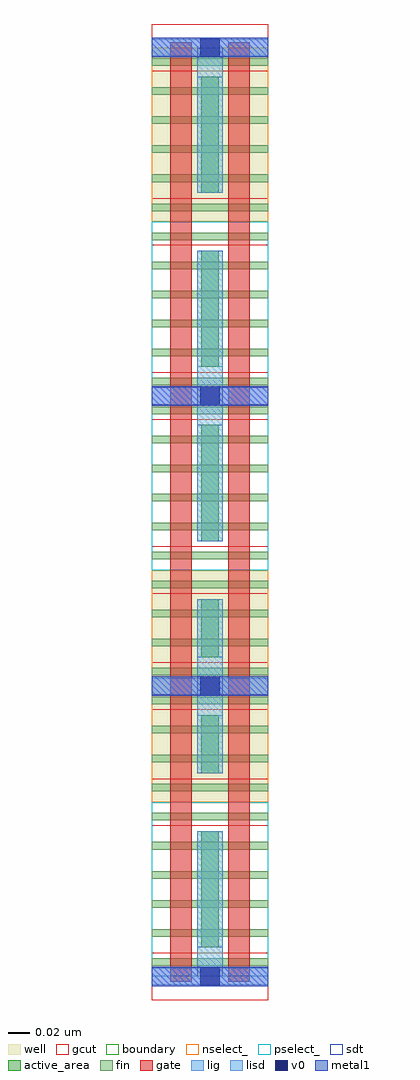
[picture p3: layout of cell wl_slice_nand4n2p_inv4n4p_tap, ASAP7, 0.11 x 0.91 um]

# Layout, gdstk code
import gdstk
lib = gdstk.Library(unit=1e-6, precision=1e-10)
def R(c, l, rs):  # rectangles x0, y0, x1, y1
    for r in rs: c.add(gdstk.rectangle(r[:2], r[2:], *l))
def A(c, l, x, y, w, h, nx, ny, dx, dy):  # array of equal rectangles
    R(c, l, [(x+i*dx, y+j*dy, x+i*dx+w, y+j*dy+h) for i in range(nx) for j in range(ny)])
well = (1, 0)
fin = (2, 0)
gate = (7, 0)
gcut = (10, 0)
active_area = (11, 0)
nselect_ = (12, 0)
pselect_ = (13, 0)
lig = (16, 0)
lisd = (17, 0)
v0 = (18, 0)
metal1 = (19, 0)
sdt = (88, 0)
boundary = (100, 0)

wl_slice_nand4n2p_inv4n4 = lib.new_cell('wl_slice_nand4n2p_inv4n4p_tap__nand')
R(wl_slice_nand4n2p_inv4n4, well, [(0,0.162,0.108,0.27)])
A(wl_slice_nand4n2p_inv4n4, fin, 0, 0.01, 0.108, 0.007, 1, 10, 0, 0.027)
R(wl_slice_nand4n2p_inv4n4, gate, [(0.017,-0.005,0.037,0.275), (0.071,-0.005,0.091,0.275)])
R(wl_slice_nand4n2p_inv4n4, gcut, [(0,-0.022,0.108,0.022), (0,0.14,0.108,0.184), (0,0.248,0.108,0.292)])
R(wl_slice_nand4n2p_inv4n4, active_area, [(0.046,0.027,0.062,0.135), (0.046,0.189,0.062,0.243)])
R(wl_slice_nand4n2p_inv4n4, nselect_, [(0,0.162,0.108,0.27)])
R(wl_slice_nand4n2p_inv4n4, pselect_, [(0,0,0.108,0.162)])
R(wl_slice_nand4n2p_inv4n4, lig, [(0,-0.008,0.108,0.008), (0,0.262,0.108,0.278)])
R(wl_slice_nand4n2p_inv4n4, lisd, [(0.042,0,0.066,0.135), (0.042,0.189,0.066,0.27)])
R(wl_slice_nand4n2p_inv4n4, v0, [(0.045,-0.009,0.063,0.009), (0.045,0.261,0.063,0.279)])
R(wl_slice_nand4n2p_inv4n4, metal1, [(0,-0.009,0.108,0.009), (0,0.261,0.108,0.279)])
R(wl_slice_nand4n2p_inv4n4, sdt, [(0.042,0.027,0.066,0.135), (0.042,0.189,0.066,0.243)])
R(wl_slice_nand4n2p_inv4n4, boundary, [(0,0,0.108,0.27)])
wl_slice_nand4n2p_inv4n4.add(gdstk.Label('VSS', (0.054,0), layer=19, texttype=251))
wl_slice_nand4n2p_inv4n4.add(gdstk.Label('VDD', (0.054,0.27), layer=19, texttype=251))

c_wl_slice_nand4n2p_inv4n4 = lib.new_cell('wl_slice_nand4n2p_inv4n4p_tap__drv')
R(c_wl_slice_nand4n2p_inv4n4, well, [(0,0.162,0.108,0.324)])
A(c_wl_slice_nand4n2p_inv4n4, fin, 0, 0.01, 0.108, 0.007, 1, 12, 0, 0.027)
R(c_wl_slice_nand4n2p_inv4n4, gate, [(0.017,-0.005,0.037,0.329), (0.071,-0.005,0.091,0.329)])
A(c_wl_slice_nand4n2p_inv4n4, gcut, 0, -0.022, 0.108, 0.044, 1, 3, 0, 0.162)
R(c_wl_slice_nand4n2p_inv4n4, active_area, [(0.046,0.027,0.062,0.135), (0.046,0.189,0.062,0.297)])
R(c_wl_slice_nand4n2p_inv4n4, nselect_, [(0,0.162,0.108,0.324)])
R(c_wl_slice_nand4n2p_inv4n4, pselect_, [(0,0,0.108,0.162)])
R(c_wl_slice_nand4n2p_inv4n4, lig, [(0,-0.008,0.108,0.008), (0,0.316,0.108,0.332)])
R(c_wl_slice_nand4n2p_inv4n4, lisd, [(0.042,0,0.066,0.135), (0.042,0.189,0.066,0.324)])
R(c_wl_slice_nand4n2p_inv4n4, v0, [(0.045,-0.009,0.063,0.009), (0.045,0.315,0.063,0.333)])
R(c_wl_slice_nand4n2p_inv4n4, metal1, [(0,-0.009,0.108,0.009), (0,0.315,0.108,0.333)])
R(c_wl_slice_nand4n2p_inv4n4, sdt, [(0.042,0.027,0.066,0.135), (0.042,0.189,0.066,0.297)])
R(c_wl_slice_nand4n2p_inv4n4, boundary, [(0,0,0.108,0.324)])
c_wl_slice_nand4n2p_inv4n4.add(gdstk.Label('VSS', (0.054,0), layer=19, texttype=251))
c_wl_slice_nand4n2p_inv4n4.add(gdstk.Label('VDD', (0.054,0.324), layer=19, texttype=251))

c_wl_slice_nand4n2p_inv4n4_ = lib.new_cell('wl_slice_nand4n2p_inv4n4p_tap')
c_wl_slice_nand4n2p_inv4n4_.add(gdstk.Reference(wl_slice_nand4n2p_inv4n4, (0,0)))
c_wl_slice_nand4n2p_inv4n4_.add(gdstk.Reference(wl_slice_nand4n2p_inv4n4, (0,0.54), x_reflection=True))
c_wl_slice_nand4n2p_inv4n4_.add(gdstk.Reference(c_wl_slice_nand4n2p_inv4n4, (0,0.54)))

lib.write_gds('wl_slice_nand4n2p_inv4n4p_tap.gds')
